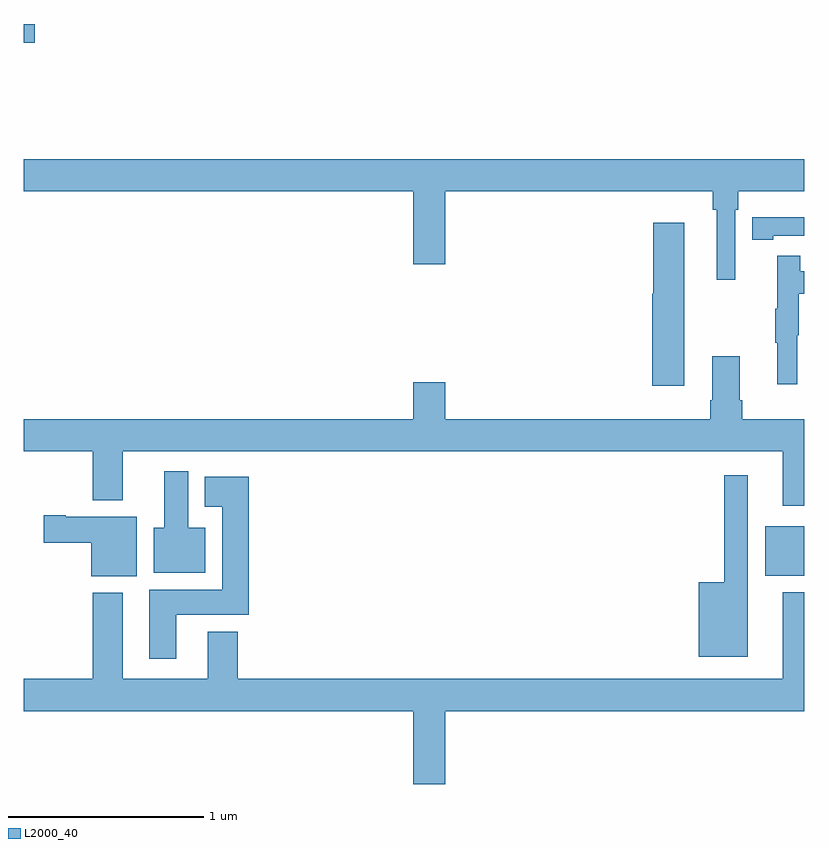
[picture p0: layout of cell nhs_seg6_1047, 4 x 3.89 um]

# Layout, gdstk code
import gdstk
lib = gdstk.Library(unit=1e-6, precision=1e-09)
def R(c, l, rs):  # rectangles x0, y0, x1, y1
    for r in rs: c.add(gdstk.rectangle(r[:2], r[2:], *l))
def P(c, l, *ps):  # polygons
    for p in ps: c.add(gdstk.Polygon(p, *l))
L2000_40 = (2000, 40)

nhs_seg6_1047 = lib.new_cell('nhs_seg6_1047')
R(nhs_seg6_1047, L2000_40, [(178.799,970.673,179,970.927), (175,973.403,175.057,973.5)])
P(nhs_seg6_1047, L2000_40, [(175,972.644),(176.996,972.644),(176.996,972.27),(177.16,972.27),(177.16,972.644),(178.531,972.644),(178.531,972.548),(178.55,972.548),(178.55,972.189),(178.647,972.189),(178.647,972.548),(178.661,972.548),(178.661,972.644),(179,972.644),(179,972.808),(175,972.808)],
  [(178.84,972.414),(179,972.414),(179,972.511),(178.84,972.511),(178.84,972.51),(178.732,972.51),(178.732,972.394),(178.84,972.394)],
  [(178.384,972.481),(178.226,972.481),(178.226,972.117),(178.22,972.117),(178.22,971.646),(178.384,971.646)],
  [(178.964,971.904),(178.972,971.904),(178.972,972.118),(179,972.118),(179,972.234),(178.979,972.234),(178.979,972.313),(178.862,972.313),(178.862,972.041),(178.851,972.041),(178.851,971.867),(178.862,971.867),(178.862,971.655),(178.964,971.655)],
  [(179,971.476),(178.682,971.476),(178.682,971.572),(178.669,971.572),(178.669,971.797),(178.529,971.797),(178.529,971.572),(178.517,971.572),(178.517,971.476),(177.16,971.476),(177.16,971.665),(176.996,971.665),(176.996,971.476),(175,971.476),(175,971.312),(175.355,971.312),(175.355,971.06),(175.507,971.06),(175.507,971.312),(178.889,971.312),(178.889,971.031),(179,971.031)],
  [(175.93,970.918),(175.843,970.918),(175.843,971.209),(175.721,971.209),(175.721,970.918),(175.667,970.918),(175.667,970.688),(175.93,970.688)],
  [(178.711,971.188),(178.59,971.188),(178.59,970.639),(178.46,970.639),(178.46,970.259),(178.711,970.259)],
  [(175.783,970.472),(176.153,970.472),(176.153,971.179),(175.928,971.179),(175.928,971.027),(176.018,971.027),(176.018,970.6),(175.643,970.6),(175.643,970.248),(175.783,970.248)],
  [(175.579,970.975),(175.216,970.975),(175.216,970.983),(175.104,970.983),(175.104,970.841),(175.346,970.841),(175.346,970.67),(175.579,970.67)],
  [(177.16,969.98),(179,969.98),(179,970.588),(178.889,970.588),(178.889,970.144),(176.096,970.144),(176.096,970.387),(175.943,970.387),(175.943,970.144),(175.507,970.144),(175.507,970.585),(175.355,970.585),(175.355,970.144),(175,970.144),(175,969.98),(176.996,969.98),(176.996,969.606),(177.16,969.606)])

lib.write_gds('nhs_seg6_1047.gds')
